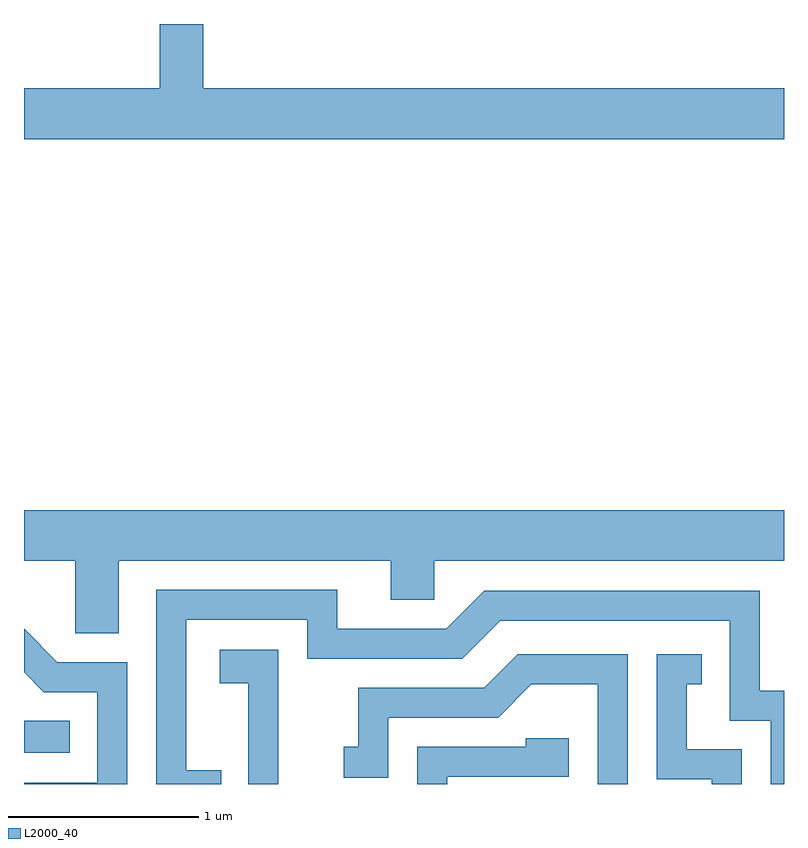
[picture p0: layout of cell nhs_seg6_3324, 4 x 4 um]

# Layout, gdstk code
import gdstk
lib = gdstk.Library(unit=1e-6, precision=1e-09)
def R(c, l, rs):  # rectangles x0, y0, x1, y1
    for r in rs: c.add(gdstk.rectangle(r[:2], r[2:], *l))
def P(c, l, *ps):  # polygons
    for p in ps: c.add(gdstk.Polygon(p, *l))
L2000_40 = (2000, 40)

nhs_seg6_3324 = lib.new_cell('nhs_seg6_3324')
R(nhs_seg6_3324, L2000_40, [(285.611,1582.326,285.853,1582.494)])
P(nhs_seg6_3324, L2000_40, [(289.611,1585.824),(286.554,1585.824),(286.554,1586.162),(286.326,1586.162),(286.326,1585.824),(285.611,1585.824),(285.611,1585.556),(289.611,1585.556)],
  [(286.109,1583.336),(287.541,1583.336),(287.541,1583.131),(287.769,1583.131),(287.769,1583.336),(289.611,1583.336),(289.611,1583.604),(285.611,1583.604),(285.611,1583.336),(285.881,1583.336),(285.881,1582.956),(286.109,1582.956)],
  [(286.648,1582.234),(286.464,1582.234),(286.464,1583.026),(287.101,1583.026),(287.101,1582.821),(287.917,1582.821),(288.117,1583.021),(289.326,1583.021),(289.326,1582.496),(289.541,1582.496),(289.541,1582.162),(289.611,1582.162),(289.611,1582.654),(289.484,1582.654),(289.484,1583.179),(288.034,1583.179),(287.834,1582.979),(287.259,1582.979),(287.259,1583.184),(286.306,1583.184),(286.306,1582.162),(286.648,1582.162)],
  [(286.154,1582.804),(285.787,1582.804),(285.611,1582.98),(285.611,1582.749),(285.714,1582.646),(285.996,1582.646),(285.996,1582.169),(285.611,1582.169),(285.611,1582.162),(286.154,1582.162)],
  [(286.949,1582.869),(286.641,1582.869),(286.641,1582.691),(286.791,1582.691),(286.791,1582.162),(286.949,1582.162)],
  [(288.789,1582.844),(288.209,1582.844),(288.034,1582.669),(287.371,1582.669),(287.371,1582.359),(287.293,1582.359),(287.293,1582.196),(287.529,1582.196),(287.529,1582.511),(288.107,1582.511),(288.282,1582.686),(288.631,1582.686),(288.631,1582.162),(288.789,1582.162)],
  [(289.389,1582.344),(289.099,1582.344),(289.099,1582.686),(289.178,1582.686),(289.178,1582.844),(288.941,1582.844),(288.941,1582.186),(289.231,1582.186),(289.231,1582.162),(289.389,1582.162)],
  [(287.839,1582.201),(288.479,1582.201),(288.479,1582.404),(288.251,1582.404),(288.251,1582.359),(287.681,1582.359),(287.681,1582.162),(287.839,1582.162)])

lib.write_gds('nhs_seg6_3324.gds')
